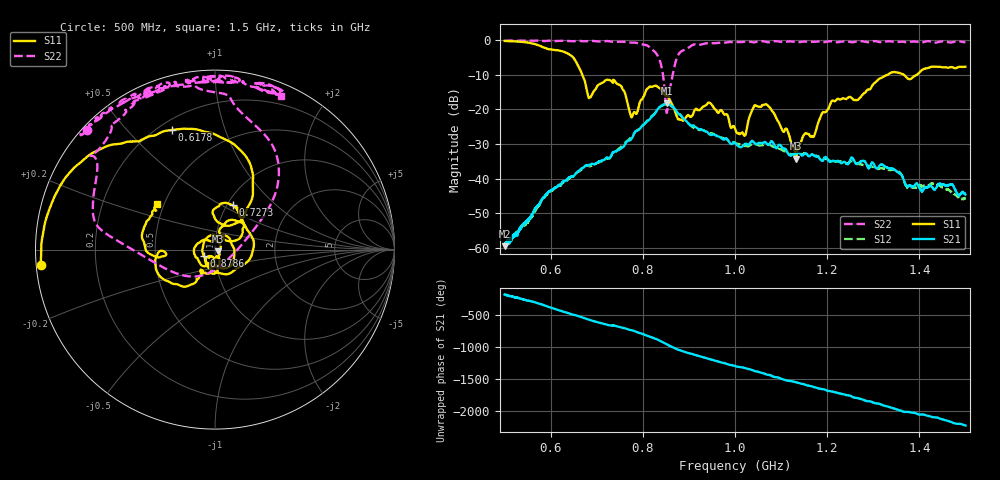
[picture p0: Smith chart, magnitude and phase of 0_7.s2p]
!Agilent Technologies,E8364B,US42250235,A.06.04.32
!Agilent E8364B: A.06.04.32
!Date: Thursday, October 01, 2020 13:17:53
!Correction: S11(Full 2 Port(1,2)) S21(Full 2 Port(1,2)) S12(Full 2 Port(1,2)) S22(Full 2 Port(1,2))
!S2P File: Measurements: S11, S21, S12, S22:
# Hz S  dB  R 50
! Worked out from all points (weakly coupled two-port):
!   2650 points, 500 MHz to 1.5 GHz, reference 50 ohm
!   highest |S21| = -18.28 dB at 851.5 MHz (marker M1); lowest = -59.6 dB at 501.1 MHz (marker M2)
!   lowest |S11| = -34.3 dB at 1.132 GHz (marker M3), VSWR 1.04, Z = 51.8 - j0.9 ohm
!   |S11| at or under -10 dB: 668.3 MHz to 1.331 GHz (662.8 MHz wide, 66.3 % of centre); 1.366 GHz to 1.395 GHz (28.41 MHz wide, 2.06 % of centre)
!   |S22| runs from -21.0 to -0.1 dB; largest |S21 - S12| = 0.022
!   S11 on the Smith chart (normalised r, x): 500 MHz: 0.01, -0.04; 617.8 MHz: 0.25, +0.67; 727.3 MHz: 1.06, +0.56; 878.6 MHz: 0.88, -0.07; 1.5 GHz: 0.46, +0.28
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5e8  -0.22 -175.0  -59.49 -177.0  -59.28 -172.6  -0.20 137.0
5.011325e8  -0.23 -175.5  -59.57 -178.8  -59.22 -177.8  -0.20 136.7
5.675727e8  -1.20 142.1  -48.57 56.6  -49.08 64.8  -0.15 131.6
6.177803e8  -2.99 109.9  -41.96 -62.6  -42.05 -56.5  -0.22 125.5
6.668554e8  -9.49 53.2  -37.08 -171.0  -37.38 -165.0  -0.26 123.0
6.849755e8  -16.60 76.0  -36.08 145.6  -36.52 150.9  -0.21 117.2
7.272556e8  -11.52 68.2  -34.18 62.4  -34.17 69.2  -0.32 114.1
7.759532e8  -22.29 49.0  -28.44 -15.6  -27.93 -30.1  -0.71 99.3
8.103058e8  -13.99 52.8  -23.42 -103.0  -23.15 -114.3  -1.61 83.4
8.337108e8  -13.62 -5.0  -19.69 -167.6  -19.89 -179.8  -4.91 51.2
8.514534e8  -16.06 -51.0  -18.28 126.5  -18.39 116.3  -20.94 -39.2
8.786334e8  -22.84 -149.0  -21.48 37.2  -21.24 26.3  -3.86 170.3
9.446961e8  -18.08 -48.1  -27.27 -108.0  -26.94 -112.8  -0.87 129.8
1.000189e9  -25.60 -132.8  -29.69 144.3  -29.66 136.7  -0.55 118.9
1.020574e9  -27.67 -115.4  -30.10 115.4  -30.57 101.3  -0.43 113.6
1.040581e9  -19.31 -121.2  -29.41 70.1  -29.94 64.4  -0.63 113.4
1.068139e9  -18.59 -178.1  -29.74 13.7  -30.10 8.4  -0.50 113.7
1.132314e9  -34.25 -26.6  -32.92 -107.1  -32.75 -114.5  -0.49 103.5
1.166667e9  -27.73 -77.7  -33.05 -173.3  -33.04 177.1  -0.48 98.3
1.210834e9  -17.49 -91.2  -34.94 105.7  -34.73 94.3  -0.34 96.8
1.333522e9  -9.77 -148.0  -37.01 -133.8  -37.47 -141.9  -0.31 83.1
1.5e9  -7.69 141.6  -44.65 -63.8  -45.66 -68.2  -0.61 66.6
